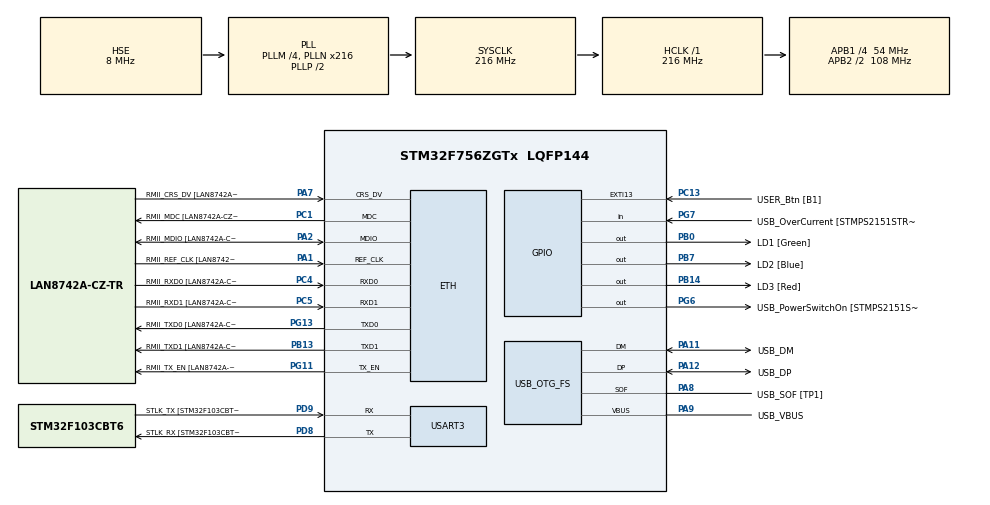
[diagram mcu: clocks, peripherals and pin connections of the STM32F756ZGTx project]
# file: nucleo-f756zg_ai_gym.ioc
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CORTEX_M7.CPU_DCache=Enabled
CORTEX_M7.CPU_ICache=Enabled
ETH.MediaInterface=HAL_ETH_RMII_MODE
ETH.PHY_Name=LAN8742A_PHY_ADDRESS
ETH.PHY_Value=0
ETH.PhyAddress=0
Mcu.Family=STM32F7
Mcu.Name=STM32F756ZGTx
Mcu.Package=LQFP144
NVIC.PriorityGroup=NVIC_PRIORITYGROUP_4
PA1.GPIO_Label=RMII_REF_CLK [LAN8742A-CZ-TR_REFCLK0]
PA1.Mode=RMII
PA1.Signal=ETH_REF_CLK
PA10.GPIO_Label=USB_ID
PA10.Signal=USB_OTG_FS_ID
PA11.GPIO_Label=USB_DM
PA11.Mode=Device_Only
PA11.Signal=USB_OTG_FS_DM
PA12.GPIO_Label=USB_DP
PA12.Mode=Device_Only
PA12.Signal=USB_OTG_FS_DP
PA13.GPIO_Label=TMS
PA13.Mode=Serial_Wire
PA13.Signal=SYS_JTMS-SWDIO
PA14.GPIO_Label=TCK
PA14.Mode=Serial_Wire
PA14.Signal=SYS_JTCK-SWCLK
PA2.GPIO_Label=RMII_MDIO [LAN8742A-CZ-TR_MDIO]
PA2.Mode=RMII
PA2.Signal=ETH_MDIO
PA7.GPIO_Label=RMII_CRS_DV [LAN8742A-CZ-TR_CRS_DV]
PA7.Mode=RMII
PA7.Signal=ETH_CRS_DV
PA8.GPIO_Label=USB_SOF [TP1]
PA8.Mode=Activate_SOF_FS
PA8.Signal=USB_OTG_FS_SOF
PA9.GPIO_Label=USB_VBUS
PA9.Mode=Activate_VBUS
PA9.Signal=USB_OTG_FS_VBUS
PB0.GPIO_Label=LD1 [Green]
PB0.Signal=GPIO_Output
PB13.GPIO_Label=RMII_TXD1 [LAN8742A-CZ-TR_TXD1]
PB13.Mode=RMII
PB13.Signal=ETH_TXD1
PB14.GPIO_Label=LD3 [Red]
PB14.Signal=GPIO_Output
PB3.GPIO_Label=SW0
PB3.Signal=SYS_JTDO-SWO
PB7.GPIO_Label=LD2 [Blue]
PB7.Signal=GPIO_Output
PC1.GPIO_Label=RMII_MDC [LAN8742A-CZ-TR_MDC]
PC1.Mode=RMII
PC1.Signal=ETH_MDC
PC13.GPIO_Label=USER_Btn [B1]
PC13.Signal=GPXTI13
PC14/OSC32_IN.Mode=LSE-External-Oscillator
PC14/OSC32_IN.Signal=RCC_OSC32_IN
PC15/OSC32_OUT.Mode=LSE-External-Oscillator
PC15/OSC32_OUT.Signal=RCC_OSC32_OUT
PC4.GPIO_Label=RMII_RXD0 [LAN8742A-CZ-TR_RXD0]
PC4.Mode=RMII
PC4.Signal=ETH_RXD0
PC5.GPIO_Label=RMII_RXD1 [LAN8742A-CZ-TR_RXD1]
PC5.Mode=RMII
PC5.Signal=ETH_RXD1
PD8.GPIO_Label=STLK_RX [STM32F103CBT6_PA3]
PD8.Mode=Asynchronous
PD8.Signal=USART3_TX
PD9.GPIO_Label=STLK_TX [STM32F103CBT6_PA2]
PD9.Mode=Asynchronous
PD9.Signal=USART3_RX
PG11.GPIO_Label=RMII_TX_EN [LAN8742A-CZ-TR_TXEN]
PG11.Mode=RMII
PG11.Signal=ETH_TX_EN
PG13.GPIO_Label=RMII_TXD0 [LAN8742A-CZ-TR_TXD0]
PG13.Mode=RMII
PG13.Signal=ETH_TXD0
PG6.GPIO_Label=USB_PowerSwitchOn [STMPS2151STR_EN]
PG6.Signal=GPIO_Output
PG7.GPIO_Label=USB_OverCurrent [STMPS2151STR_FAULT]
PG7.Signal=GPIO_Input
PH0/OSC_IN.GPIO_Label=MCO [STM32F103CBT6_PA8]
PH0/OSC_IN.Mode=HSE-External-Clock-Source
PH0/OSC_IN.Signal=RCC_OSC_IN
PH1/OSC_OUT.Mode=HSE-External-Clock-Source
PH1/OSC_OUT.Signal=RCC_OSC_OUT
ProjectManager.HeapSize=0x800
ProjectManager.StackSize=0x800
ProjectManager.TargetToolchain=STM32CubeIDE
RCC.48MHZClocksFreq_Value=24000000
RCC.AHBFreq_Value=216000000
RCC.APB1CLKDivider=RCC_HCLK_DIV4
RCC.APB1Freq_Value=54000000
RCC.APB1TimFreq_Value=108000000
RCC.APB2CLKDivider=RCC_HCLK_DIV2
RCC.APB2Freq_Value=108000000
RCC.APB2TimFreq_Value=216000000
RCC.CortexFreq_Value=216000000
RCC.HCLKFreq_Value=216000000
RCC.HSE_VALUE=8000000
RCC.HSI_VALUE=16000000
RCC.PLLM=4
RCC.PLLMUL=RCC_PLL_MUL9
RCC.PLLN=216
RCC.PLLP=2
RCC.PLLQ=9
RCC.PRESCALERUSB=RCC_USBCLKSOURCE_PLL_DIV1_5
RCC.SYSCLKFreq_VALUE=216000000
RCC.SYSCLKSource=RCC_SYSCLKSOURCE_PLLCLK
RCC.SYSCLKSourceVirtual=RCC_SYSCLKSOURCE_PLLCLK
RCC.USBFreq_Value=48000000
RCC.VCOOutputFreq_Value=432000000
STMicroelectronics.X-CUBE-AI.8.1.0.ActivationBufferSizeList=18160
STMicroelectronics.X-CUBE-AI.8.1.0.ActivationBuffers=pool0
STMicroelectronics.X-CUBE-AI.8.1.0.ActivationNames=pool0
STMicroelectronics.X-CUBE-AI.8.1.0.ActivationSizes=AI_COMBINATION_DATA_ACTIVATION_1_SIZE
STMicroelectronics.X-CUBE-AI.8.1.0.HeapSize=0x800
STMicroelectronics.X-CUBE-AI.8.1.0.InternalRamActivationBufferMaxSize=AI_COMBINATION_DATA_ACTIVATIONS_SIZE
STMicroelectronics.X-CUBE-AI.8.1.0.LatestDirectoryUsed-0b9f66743dc8dbcc01f0f0c31ffb2309d4b851c677b4cea827cd099143a01d56=/Users/kangpx/onlineTiny2023/saved_models/gym/onnx
STMicroelectronics.X-CUBE-AI.8.1.0.MaximumNumberOfInputLayer=1
STMicroelectronics.X-CUBE-AI.8.1.0.MaximumNumberOfOutputLayer=1
STMicroelectronics.X-CUBE-AI.8.1.0.MaximumSizeOfInputLayer=1
STMicroelectronics.X-CUBE-AI.8.1.0.MaximumSizeOfOutputLayer=1
STMicroelectronics.X-CUBE-AI.8.1.0.ModelActualCompression-0b9f66743dc8dbcc01f0f0c31ffb2309d4b851c677b4cea827cd099143a01d56=0.0
STMicroelectronics.X-CUBE-AI.8.1.0.ModelCompression-0b9f66743dc8dbcc01f0f0c31ffb2309d4b851c677b4cea827cd099143a01d56=None
STMicroelectronics.X-CUBE-AI.8.1.0.ModelFlashOccupation-0b9f66743dc8dbcc01f0f0c31ffb2309d4b851c677b4cea827cd099143a01d56=198986
STMicroelectronics.X-CUBE-AI.8.1.0.ModelHashList=0b9f66743dc8dbcc01f0f0c31ffb2309d4b851c677b4cea827cd099143a01d56
STMicroelectronics.X-CUBE-AI.8.1.0.ModelKind-0b9f66743dc8dbcc01f0f0c31ffb2309d4b851c677b4cea827cd099143a01d56=ONNX
STMicroelectronics.X-CUBE-AI.8.1.0.ModelMacc-0b9f66743dc8dbcc01f0f0c31ffb2309d4b851c677b4cea827cd099143a01d56=1165312
STMicroelectronics.X-CUBE-AI.8.1.0.ModelName-0b9f66743dc8dbcc01f0f0c31ffb2309d4b851c677b4cea827cd099143a01d56=combination
STMicroelectronics.X-CUBE-AI.8.1.0.ModelNameList=combination
STMicroelectronics.X-CUBE-AI.8.1.0.ModelRamOccupation-0b9f66743dc8dbcc01f0f0c31ffb2309d4b851c677b4cea827cd099143a01d56=18160
STMicroelectronics.X-CUBE-AI.8.1.0.ModelStructureFile-0b9f66743dc8dbcc01f0f0c31ffb2309d4b851c677b4cea827cd099143a01d56=/Users/kangpx/onlineTiny2023/saved_models/gym/onnx/fold_1_pre_combination_fullvalid_b32_s20.onnx
STMicroelectronics.X-CUBE-AI.8.1.0.ModelType-0b9f66743dc8dbcc01f0f0c31ffb2309d4b851c677b4cea827cd099143a01d56=Saved model
STMicroelectronics.X-CUBE-AI.8.1.0.ReadyForCodeGeneration=true
STMicroelectronics.X-CUBE-AI.8.1.0.StackSize=0x800
STMicroelectronics.X-CUBE-AI.8.1.0.WorkingBufferStartAddrList=0xFFFFFFFF
STMicroelectronics.X-CUBE-AI.8.1.0.XAaCUBEAaAICcArtificialOoIntelligenceJjCore=true
STMicroelectronics.X-CUBE-AI.8.1.0.copyWeightToRam=false
STMicroelectronics.X-CUBE-AI.8.1.0.copyWeightToRam-0b9f66743dc8dbcc01f0f0c31ffb2309d4b851c677b4cea827cd099143a01d56=false
STMicroelectronics.X-CUBE-AI.8.1.0.customLayerConfigEnabled=false
STMicroelectronics.X-CUBE-AI.8.1.0.customLayerConfigEnabled-0b9f66743dc8dbcc01f0f0c31ffb2309d4b851c677b4cea827cd099143a01d56=false
STMicroelectronics.X-CUBE-AI.8.1.0.noOnnxIoTranspose=false
STMicroelectronics.X-CUBE-AI.8.1.0.noOnnxIoTranspose-0b9f66743dc8dbcc01f0f0c31ffb2309d4b851c677b4cea827cd099143a01d56=true
STMicroelectronics.X-CUBE-AI.8.1.0.outputDirectory=/Users/kangpx/.stm32cubemx/combination_output
STMicroelectronics.X-CUBE-AI.8.1.0.outputDirectory-0b9f66743dc8dbcc01f0f0c31ffb2309d4b851c677b4cea827cd099143a01d56=/Users/kangpx/.stm32cubemx/combination_output
STMicroelectronics.X-CUBE-AI.8.1.0.splitWeigths-0b9f66743dc8dbcc01f0f0c31ffb2309d4b851c677b4cea827cd099143a01d56=true
STMicroelectronics.X-CUBE-AI.8.1.0.useInputAllocation=true
STMicroelectronics.X-CUBE-AI.8.1.0.useInputAllocation-0b9f66743dc8dbcc01f0f0c31ffb2309d4b851c677b4cea827cd099143a01d56=true
STMicroelectronics.X-CUBE-AI.8.1.0.useOutputAllocation=true
STMicroelectronics.X-CUBE-AI.8.1.0.useOutputAllocation-0b9f66743dc8dbcc01f0f0c31ffb2309d4b851c677b4cea827cd099143a01d56=true
TIM14.Prescaler=21600-1
USART3.VirtualMode-Asynchronous=VM_ASYNC
USB_OTG_FS.VirtualMode=Device_Only
VP_CRC_VS_CRC.Mode=CRC_Activate
VP_STMicroelectronics.X-CUBE-AI_VS_ArtificialOoIntelligenceJjXAaCUBEAaAI_8.1.0.Mode=ArtificialOoIntelligenceJjXAaCUBEAaAI
VP_TIM14_VS_ClockSourceINT.Mode=Enable_Timer
board=NUCLEO-F756ZG

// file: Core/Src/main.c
/* USER CODE BEGIN Header */
/**
  ******************************************************************************
  * @file           : main.c
  * @brief          : Main program body
  ******************************************************************************
  * @attention
  *
  * Copyright (c) 2023 STMicroelectronics.
  * All rights reserved.
  *
  * This software is licensed under terms that can be found in the LICENSE file
  * in the root directory of this software component.
  * If no LICENSE file comes with this software, it is provided AS-IS.
  *
  ******************************************************************************
  */
/* USER CODE END Header */
#include "main.h"
#include "string.h"

/* USER CODE BEGIN Includes */
#include <stdio.h>
#include <stdlib.h>
#include "ai_platform.h"
#include "online_training.h"
#include "ai_platform_interface.h"
#include "core_common.h"
#include "core_private.h"
#include "combination.h"
#include "combination_data.h"
#include "combination_data_params.h"
/* USER CODE END Includes */

#if defined ( __ICCARM__ ) /*!< IAR Compiler */
#pragma location=0x2004c000
ETH_DMADescTypeDef  DMARxDscrTab[ETH_RX_DESC_CNT]; /* Ethernet Rx DMA Descriptors */
#pragma location=0x2004c0a0
ETH_DMADescTypeDef  DMATxDscrTab[ETH_TX_DESC_CNT]; /* Ethernet Tx DMA Descriptors */

#elif defined ( __CC_ARM )  /* MDK ARM Compiler */

__attribute__((at(0x2004c000))) ETH_DMADescTypeDef  DMARxDscrTab[ETH_RX_DESC_CNT]; /* Ethernet Rx DMA Descriptors */
__attribute__((at(0x2004c0a0))) ETH_DMADescTypeDef  DMATxDscrTab[ETH_TX_DESC_CNT]; /* Ethernet Tx DMA Descriptors */

#elif defined ( __GNUC__ ) /* GNU Compiler */
ETH_DMADescTypeDef DMARxDscrTab[ETH_RX_DESC_CNT] __attribute__((section(".RxDecripSection"))); /* Ethernet Rx DMA Descriptors */
ETH_DMADescTypeDef DMATxDscrTab[ETH_TX_DESC_CNT] __attribute__((section(".TxDecripSection")));   /* Ethernet Tx DMA Descriptors */

#endif

ETH_TxPacketConfig TxConfig;

CRC_HandleTypeDef hcrc;

ETH_HandleTypeDef heth;

TIM_HandleTypeDef htim14;

UART_HandleTypeDef huart3;

PCD_HandleTypeDef hpcd_USB_OTG_FS;

void SystemClock_Config(void);
static void MX_GPIO_Init(void);
static void MX_ETH_Init(void);
static void MX_USART3_UART_Init(void);
static void MX_USB_OTG_FS_PCD_Init(void);
static void MX_CRC_Init(void);
static void MX_TIM14_Init(void);
/* USER CODE BEGIN PFP */
uint32_t get_y_pred(void);
/* USER CODE END PFP */

/* USER CODE BEGIN 0 */
ai_handle combination = AI_HANDLE_NULL;

AI_ALIGNED(32)
static ai_u8 activations[AI_COMBINATION_DATA_ACTIVATIONS_SIZE];

AI_ALIGNED(32)
float *in_data;

AI_ALIGNED(32)
float *out_data;

static ai_buffer *ai_input;
static ai_buffer *ai_output;

static char uart_buf[300];
static uint32_t uart_buf_len = 0;

static ai_error err;
static ai_i32 n_batch;
static uint32_t t_stamp_s_infe, t_stamp_e_infe, t_stamp_s_incr, t_stamp_e_incr;

static ai_float y_proba[AI_COMBINATION_OUT_1_SIZE];
float y_real;
static uint32_t y_pred;

static float ot_flag;
/* USER CODE END 0 */

int main(void)
{
/* Enable the CPU Cache */

  /* Enable I-Cache---------------------------------------------------------*/
  SCB_EnableICache();

  /* Enable D-Cache---------------------------------------------------------*/
  SCB_EnableDCache();

  /* MCU Configuration--------------------------------------------------------*/

  /* Reset of all peripherals, Initializes the Flash interface and the Systick. */
  HAL_Init();

  /* Configure the system clock */
  SystemClock_Config();

  /* Initialize all configured peripherals */
  MX_GPIO_Init();
  MX_ETH_Init();
  MX_USART3_UART_Init();
  MX_USB_OTG_FS_PCD_Init();
  MX_CRC_Init();
  MX_TIM14_Init();
  /* USER CODE BEGIN 2 */
  // Start Timer/Counter
	HAL_TIM_Base_Start(&htim14);

	// Create and initialize the network
	const ai_handle acts[] = { activations };
	err = ai_combination_create_and_init(&combination, acts, NULL);
	if (err.type != AI_ERROR_NONE) {
		uart_buf_len = sprintf(uart_buf,
				"Error: cannot create or initialize the network");
		HAL_UART_Transmit(&huart3, (uint8_t*) uart_buf, uart_buf_len, 100);
		while (1)
			;
	}

	// Retrieve the pointers to the model's input/output tensors
	ai_input = ai_combination_inputs_get(combination, NULL);
	ai_output = ai_combination_outputs_get(combination, NULL);

	// Retrieve the @ of the in_data/out_data buffer
	in_data = (ai_float*) (ai_input[0].data);
	out_data = (ai_float*) (ai_output[0].data);

	// online training initialization
	ot_init(0.002f, 0.9f);
  /* USER CODE END 2 */

  /* Infinite loop */
  /* USER CODE BEGIN WHILE */
  while (1)
  {
	  // Receive input label into y_real through UART
		if (HAL_UART_Receive(&huart3, (uint8_t*) (&y_real), sizeof(float),
				HAL_MAX_DELAY) != HAL_OK) {
			uart_buf_len =
					sprintf(uart_buf,
							"Error: fail to read input label into y_real through UART\r\n");
			HAL_UART_Transmit(&huart3, (uint8_t*) uart_buf, uart_buf_len,
					HAL_MAX_DELAY);
			while (1)
				;
		}

		// Receive input data into in_data array through UART
		if (HAL_UART_Receive(&huart3, (uint8_t*) in_data,
				AI_COMBINATION_IN_1_SIZE_BYTES, HAL_MAX_DELAY) != HAL_OK) {
			uart_buf_len =
					sprintf(uart_buf,
							"Error: fail to read input data into in_data array through UART\r\n");
			HAL_UART_Transmit(&huart3, (uint8_t*) uart_buf, uart_buf_len,
					HAL_MAX_DELAY);
			while (1)
				;
		}

		// Receive inc_flag through UART
		if (HAL_UART_Receive(&huart3, (uint8_t*) (&ot_flag), sizeof(float),
				HAL_MAX_DELAY) != HAL_OK) {
			uart_buf_len =
					sprintf(uart_buf,
							"Error: fail to read inc_flag through UART\r\n");
			HAL_UART_Transmit(&huart3, (uint8_t*) uart_buf, uart_buf_len,
					HAL_MAX_DELAY);
			while (1)
				;
		}

		// Start Timer/Counter
		HAL_TIM_Base_Start(&htim14);

		// Get start time stamp
		t_stamp_s_infe = htim14.Instance->CNT;

		// Perform the inference
		n_batch = ai_combination_run(combination, &ai_input[0], &ai_output[0]);

		// Get end time stamp
		t_stamp_e_infe = htim14.Instance->CNT;

		// check if the inference is successful
		if (n_batch != 1) {
			err = ai_combination_get_error(combination);
			uart_buf_len =
					sprintf(uart_buf,
							"Error: cannot perform inference, error type=%d code=%d\r\n",
							err.type, err.code);
			HAL_UART_Transmit(&huart3, (uint8_t*) uart_buf, uart_buf_len, 100);
			while (1)
				;
		}

		// Get start time stamp
		t_stamp_s_incr = htim14.Instance->CNT;

		// update parameters
		if (ot_flag)
			ot_update();

		// Get end time stamp
		t_stamp_e_incr = htim14.Instance->CNT;

		// Retrieve the network output to float array y_proba
		for (uint32_t i = 0; i < AI_COMBINATION_OUT_1_SIZE; i++) {
			y_proba[i] = ((float*) out_data)[i];
		}

		y_pred = get_y_pred();

		// Transmit the predicted label through UART
		/*uart_buf_len =
				sprintf(uart_buf,
						"y_proba: %f, %f, %f, %f, %f, %f, %f, %f, %f, %f\r\ny_real: %lu, y_pred: %lu\r\nInference Delay: %f ms Online Training Delay: %f ms\r\n",
						y_proba[0], y_proba[1], y_proba[2], y_proba[3],
						y_proba[4], y_proba[5], y_proba[6], y_proba[7],
						y_proba[8], y_proba[9], (uint32_t) y_real,
						(uint32_t) y_pred,
						((float) (t_stamp_e_infe - t_stamp_s_infe)) / 10,
						((float) (t_stamp_e_incr - t_stamp_s_incr)) / 10);
		HAL_UART_Transmit(&huart3, (uint8_t*) uart_buf, uart_buf_len, 100);*/

		// Transmit the predicted label through UART
		//uart_buf_len = sprintf(uart_buf, "%u", y_pred);
		HAL_UART_Transmit(&huart3, (uint8_t*)(&y_pred), sizeof(y_pred), HAL_MAX_DELAY);
    /* USER CODE END WHILE */

  }
}

void SystemClock_Config(void)
{
  RCC_OscInitTypeDef RCC_OscInitStruct = {0};
  RCC_ClkInitTypeDef RCC_ClkInitStruct = {0};

  /** Configure LSE Drive Capability
  */
  HAL_PWR_EnableBkUpAccess();

  /** Configure the main internal regulator output voltage
  */
  __HAL_RCC_PWR_CLK_ENABLE();
  __HAL_PWR_VOLTAGESCALING_CONFIG(PWR_REGULATOR_VOLTAGE_SCALE1);

  /** Initializes the RCC Oscillators according to the specified parameters
  * in the RCC_OscInitTypeDef structure.
  */
  RCC_OscInitStruct.OscillatorType = RCC_OSCILLATORTYPE_HSE;
  RCC_OscInitStruct.HSEState = RCC_HSE_BYPASS;
  RCC_OscInitStruct.PLL.PLLState = RCC_PLL_ON;
  RCC_OscInitStruct.PLL.PLLSource = RCC_PLLSOURCE_HSE;
  RCC_OscInitStruct.PLL.PLLM = 4;
  RCC_OscInitStruct.PLL.PLLN = 216;
  RCC_OscInitStruct.PLL.PLLP = 2;
  RCC_OscInitStruct.PLL.PLLQ = 9;
  if (HAL_RCC_OscConfig(&RCC_OscInitStruct) != HAL_OK)
  {
    Error_Handler();
  }

  /** Activate the Over-Drive mode
  */
  if (HAL_PWREx_EnableOverDrive() != HAL_OK)
  {
    Error_Handler();
  }

  /** Initializes the CPU, AHB and APB buses clocks
  */
  RCC_ClkInitStruct.ClockType = RCC_CLOCKTYPE_HCLK|RCC_CLOCKTYPE_SYSCLK
                              |RCC_CLOCKTYPE_PCLK1|RCC_CLOCKTYPE_PCLK2;
  RCC_ClkInitStruct.SYSCLKSource = RCC_SYSCLKSOURCE_PLLCLK;
  RCC_ClkInitStruct.AHBCLKDivider = RCC_SYSCLK_DIV1;
  RCC_ClkInitStruct.APB1CLKDivider = RCC_HCLK_DIV4;
  RCC_ClkInitStruct.APB2CLKDivider = RCC_HCLK_DIV2;

  if (HAL_RCC_ClockConfig(&RCC_ClkInitStruct, FLASH_LATENCY_7) != HAL_OK)
  {
    Error_Handler();
  }
}

static void MX_CRC_Init(void)
{

  hcrc.Instance = CRC;
  hcrc.Init.DefaultPolynomialUse = DEFAULT_POLYNOMIAL_ENABLE;
  hcrc.Init.DefaultInitValueUse = DEFAULT_INIT_VALUE_ENABLE;
  hcrc.Init.InputDataInversionMode = CRC_INPUTDATA_INVERSION_NONE;
  hcrc.Init.OutputDataInversionMode = CRC_OUTPUTDATA_INVERSION_DISABLE;
  hcrc.InputDataFormat = CRC_INPUTDATA_FORMAT_BYTES;
  if (HAL_CRC_Init(&hcrc) != HAL_OK)
  {
    Error_Handler();
  }

}

static void MX_ETH_Init(void)
{

   static uint8_t MACAddr[6];

  heth.Instance = ETH;
  MACAddr[0] = 0x00;
  MACAddr[1] = 0x80;
  MACAddr[2] = 0xE1;
  MACAddr[3] = 0x00;
  MACAddr[4] = 0x00;
  MACAddr[5] = 0x00;
  heth.Init.MACAddr = &MACAddr[0];
  heth.Init.MediaInterface = HAL_ETH_RMII_MODE;
  heth.Init.TxDesc = DMATxDscrTab;
  heth.Init.RxDesc = DMARxDscrTab;
  heth.Init.RxBuffLen = 1524;

  if (HAL_ETH_Init(&heth) != HAL_OK)
  {
    Error_Handler();
  }

  memset(&TxConfig, 0 , sizeof(ETH_TxPacketConfig));
  TxConfig.Attributes = ETH_TX_PACKETS_FEATURES_CSUM | ETH_TX_PACKETS_FEATURES_CRCPAD;
  TxConfig.ChecksumCtrl = ETH_CHECKSUM_IPHDR_PAYLOAD_INSERT_PHDR_CALC;
  TxConfig.CRCPadCtrl = ETH_CRC_PAD_INSERT;

}

static void MX_TIM14_Init(void)
{

  htim14.Instance = TIM14;
  htim14.Init.Prescaler = 21600-1;
  htim14.Init.CounterMode = TIM_COUNTERMODE_UP;
  htim14.Init.Period = 65535;
  htim14.Init.ClockDivision = TIM_CLOCKDIVISION_DIV1;
  htim14.Init.AutoReloadPreload = TIM_AUTORELOAD_PRELOAD_DISABLE;
  if (HAL_TIM_Base_Init(&htim14) != HAL_OK)
  {
    Error_Handler();
  }

}

static void MX_USART3_UART_Init(void)
{

  huart3.Instance = USART3;
  huart3.Init.BaudRate = 115200;
  huart3.Init.WordLength = UART_WORDLENGTH_8B;
  huart3.Init.StopBits = UART_STOPBITS_1;
  huart3.Init.Parity = UART_PARITY_NONE;
  huart3.Init.Mode = UART_MODE_TX_RX;
  huart3.Init.HwFlowCtl = UART_HWCONTROL_NONE;
  huart3.Init.OverSampling = UART_OVERSAMPLING_16;
  huart3.Init.OneBitSampling = UART_ONE_BIT_SAMPLE_DISABLE;
  huart3.AdvancedInit.AdvFeatureInit = UART_ADVFEATURE_NO_INIT;
  if (HAL_UART_Init(&huart3) != HAL_OK)
  {
    Error_Handler();
  }

}

static void MX_USB_OTG_FS_PCD_Init(void)
{

  hpcd_USB_OTG_FS.Instance = USB_OTG_FS;
  hpcd_USB_OTG_FS.Init.dev_endpoints = 6;
  hpcd_USB_OTG_FS.Init.speed = PCD_SPEED_FULL;
  hpcd_USB_OTG_FS.Init.dma_enable = DISABLE;
  hpcd_USB_OTG_FS.Init.phy_itface = PCD_PHY_EMBEDDED;
  hpcd_USB_OTG_FS.Init.Sof_enable = ENABLE;
  hpcd_USB_OTG_FS.Init.low_power_enable = DISABLE;
  hpcd_USB_OTG_FS.Init.lpm_enable = DISABLE;
  hpcd_USB_OTG_FS.Init.vbus_sensing_enable = ENABLE;
  hpcd_USB_OTG_FS.Init.use_dedicated_ep1 = DISABLE;
  if (HAL_PCD_Init(&hpcd_USB_OTG_FS) != HAL_OK)
  {
    Error_Handler();
  }

}

static void MX_GPIO_Init(void)
{
  GPIO_InitTypeDef GPIO_InitStruct = {0};

  /* GPIO Ports Clock Enable */
  __HAL_RCC_GPIOC_CLK_ENABLE();
  __HAL_RCC_GPIOH_CLK_ENABLE();
  __HAL_RCC_GPIOA_CLK_ENABLE();
  __HAL_RCC_GPIOB_CLK_ENABLE();
  __HAL_RCC_GPIOD_CLK_ENABLE();
  __HAL_RCC_GPIOG_CLK_ENABLE();

  /*Configure GPIO pin Output Level */
  HAL_GPIO_WritePin(GPIOB, LD1_Pin|LD3_Pin|LD2_Pin, GPIO_PIN_RESET);

  /*Configure GPIO pin Output Level */
  HAL_GPIO_WritePin(USB_PowerSwitchOn_GPIO_Port, USB_PowerSwitchOn_Pin, GPIO_PIN_RESET);

  /*Configure GPIO pin : USER_Btn_Pin */
  GPIO_InitStruct.Pin = USER_Btn_Pin;
  GPIO_InitStruct.Mode = GPIO_MODE_IT_RISING;
  GPIO_InitStruct.Pull = GPIO_NOPULL;
  HAL_GPIO_Init(USER_Btn_GPIO_Port, &GPIO_InitStruct);

  /*Configure GPIO pins : LD1_Pin LD3_Pin LD2_Pin */
  GPIO_InitStruct.Pin = LD1_Pin|LD3_Pin|LD2_Pin;
  GPIO_InitStruct.Mode = GPIO_MODE_OUTPUT_PP;
  GPIO_InitStruct.Pull = GPIO_NOPULL;
  GPIO_InitStruct.Speed = GPIO_SPEED_FREQ_LOW;
  HAL_GPIO_Init(GPIOB, &GPIO_InitStruct);

  /*Configure GPIO pin : USB_PowerSwitchOn_Pin */
  GPIO_InitStruct.Pin = USB_PowerSwitchOn_Pin;
  GPIO_InitStruct.Mode = GPIO_MODE_OUTPUT_PP;
  GPIO_InitStruct.Pull = GPIO_NOPULL;
  GPIO_InitStruct.Speed = GPIO_SPEED_FREQ_LOW;
  HAL_GPIO_Init(USB_PowerSwitchOn_GPIO_Port, &GPIO_InitStruct);

  /*Configure GPIO pin : USB_OverCurrent_Pin */
  GPIO_InitStruct.Pin = USB_OverCurrent_Pin;
  GPIO_InitStruct.Mode = GPIO_MODE_INPUT;
  GPIO_InitStruct.Pull = GPIO_NOPULL;
  HAL_GPIO_Init(USB_OverCurrent_GPIO_Port, &GPIO_InitStruct);

}

/* USER CODE BEGIN 4 */
uint32_t get_y_pred(void){
	ai_float y_proba_max = y_proba[0];
	uint32_t y_pred_ = 0;
	for (uint32_t i = 1; i < AI_COMBINATION_OUT_1_SIZE; i++) {
		if (y_proba[i] > y_proba_max) {
			y_proba_max = y_proba[i];
			y_pred_ = i;
		}
	}
	return y_pred_;
}
/* USER CODE END 4 */

void Error_Handler(void)
{
  __disable_irq();
  while (1)
  {
  }
}
